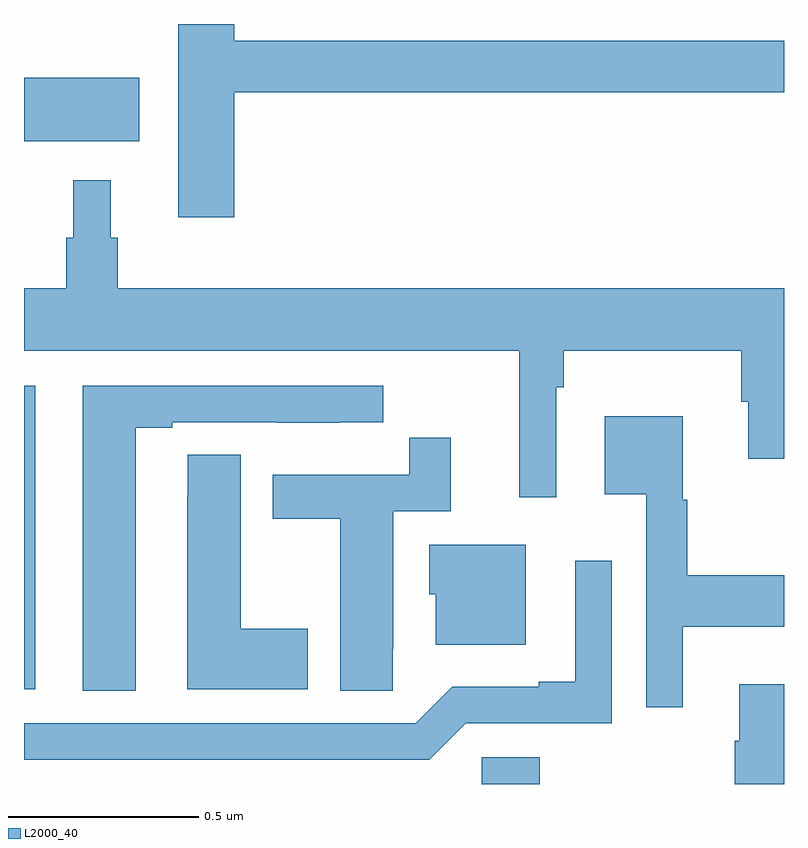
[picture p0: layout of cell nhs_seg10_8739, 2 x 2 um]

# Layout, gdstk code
import gdstk
lib = gdstk.Library(unit=1e-6, precision=1e-09)
def R(c, l, rs):  # rectangles x0, y0, x1, y1
    for r in rs: c.add(gdstk.rectangle(r[:2], r[2:], *l))
def P(c, l, *ps):  # polygons
    for p in ps: c.add(gdstk.Polygon(p, *l))
L2000_40 = (2000, 40)

nhs_seg10_8739 = lib.new_cell('nhs_seg10_8739')
R(nhs_seg10_8739, L2000_40, [(221.205,1308.5,221.357,1308.57), (220,1308.75,220.03,1309.548), (220,1310.192,220.303,1310.358)])
P(nhs_seg10_8739, L2000_40, [(220.553,1310.32),(222,1310.32),(222,1310.456),(220.553,1310.456),(220.553,1310.5),(220.406,1310.5),(220.406,1309.992),(220.553,1309.992)],
  [(221.4,1309.544),(221.42,1309.544),(221.42,1309.64),(221.887,1309.64),(221.887,1309.506),(221.906,1309.506),(221.906,1309.356),(222,1309.356),(222,1309.804),(220.247,1309.804),(220.247,1309.938),(220.228,1309.938),(220.228,1310.089),(220.13,1310.089),(220.13,1309.938),(220.111,1309.938),(220.111,1309.804),(220,1309.804),(220,1309.64),(221.303,1309.64),(221.303,1309.254),(221.4,1309.254)],
  [(220.294,1309.437),(220.39,1309.437),(220.39,1309.452),(220.666,1309.452),(220.666,1309.451),(220.832,1309.451),(220.832,1309.452),(220.945,1309.452),(220.945,1309.548),(220.154,1309.548),(220.154,1308.745),(220.294,1308.745)],
  [(221.734,1308.914),(222,1308.914),(222,1309.049),(221.746,1309.049),(221.746,1309.248),(221.734,1309.248),(221.734,1309.468),(221.528,1309.468),(221.528,1309.262),(221.637,1309.262),(221.637,1308.702),(221.734,1308.702)],
  [(220.971,1308.856),(220.972,1308.856),(220.972,1309.218),(221.123,1309.218),(221.123,1309.411),(221.014,1309.411),(221.014,1309.314),(220.655,1309.314),(220.655,1309.198),(220.832,1309.198),(220.832,1308.745),(220.971,1308.745)],
  [(220.747,1308.909),(220.57,1308.909),(220.57,1309.367),(220.431,1309.367),(220.431,1309.259),(220.43,1309.259),(220.43,1308.749),(220.747,1308.749)],
  [(221.32,1309.129),(221.066,1309.129),(221.066,1308.999),(221.084,1308.999),(221.084,1308.866),(221.32,1308.866)],
  [(221.163,1308.66),(221.547,1308.66),(221.547,1309.087),(221.45,1309.087),(221.45,1308.769),(221.354,1308.769),(221.354,1308.756),(221.127,1308.756),(221.031,1308.66),(220,1308.66),(220,1308.564),(221.067,1308.564)],
  [(222,1308.763),(221.882,1308.763),(221.882,1308.614),(221.87,1308.614),(221.87,1308.5),(222,1308.5)])

lib.write_gds('nhs_seg10_8739.gds')
